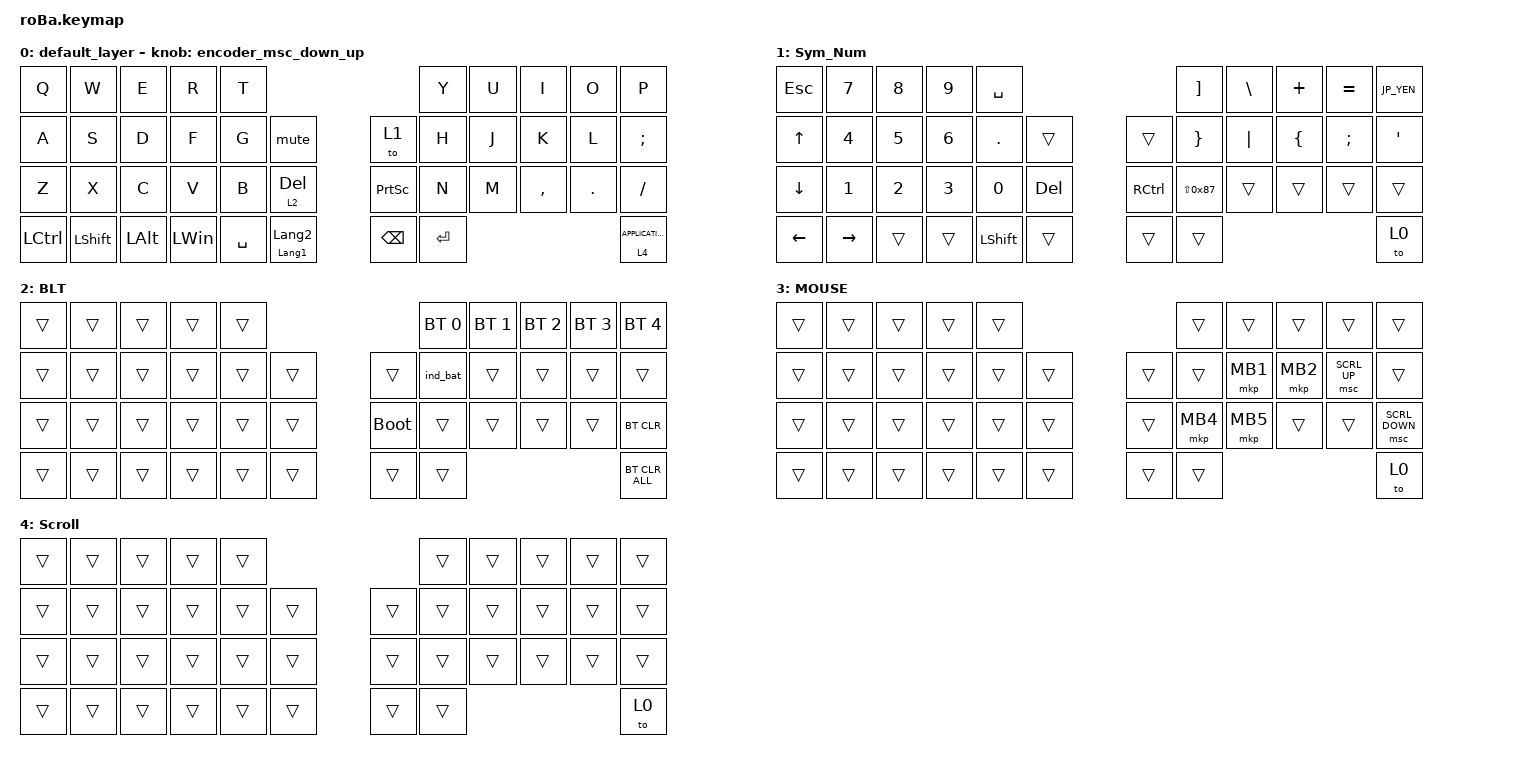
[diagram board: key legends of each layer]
#include <input/processors.dtsi>
#include <behaviors.dtsi>
#include <behaviors/rgbled_widget.dtsi>
#include <dt-bindings/zmk/bt.h>
#include <dt-bindings/zmk/keys.h>
#define ZMK_POINTING_DEFAULT_SCRL_VAL 80
#include <dt-bindings/zmk/pointing.h>

// OS設定を日本語キーボードのまま使用するための変換定義

#define JP_DQUOTE       AT                // "
#define JP_AMPERSAND    CARET             // &
#define JP_QUOTE        AMPERSAND         // '
#define JP_EQUAL        UNDER             // =
#define JP_CARET        EQUAL             // ^
#define JP_YEN          0x89              // ¥
#define JP_PLUS         COLON             // +
#define JP_TILDE        PLUS              // ~
#define JP_PIPE         LS(0x89)          // |
#define JP_AT           LEFT_BRACKET      // @
#define JP_COLON        SINGLE_QUOTE      // :
#define JP_ASTERISK     DOUBLE_QUOTES     // *
#define JP_BACKQUOTE    LEFT_BRACE        // `
#define JP_UNDERSCORE   LS(0x87)          // _
#define JP_LBRACKET     RIGHT_BRACKET     // [
#define JP_RBRACKET     BACKSLASH         // ]
#define JP_LPAREN       ASTERISK          // (
#define JP_RPAREN       LEFT_PARENTHESIS  // )
#define JP_LBRACE       RIGHT_BRACE       // {
#define JP_RBRACE       PIPE              // }
#define JP_KANA         LANGUAGE_1        // かな
#define JP_EISU         LANGUAGE_2        // 英数
#define JP_HANZEN       GRAVE             // 半角/全角

&mt {
    flavor = "balanced";
    quick-tap-ms = <0>;
};

&trackball {
    automouse-layer = <3>;
    scroll-layers = <4>;

    // arrows {
    //     layers = <3>;
    //     bindings =
    //         <&kp RIGHT_ARROW>,
    //         <&kp LEFT_ARROW>,
    //         <&kp UP_ARROW>,
    //         <&kp DOWN_ARROW>;
    //     tick = <10>;
    //     wait-ms = <5>;
    //     tap-ms = <5>;
    // };
};

/ {
    combos {
        compatible = "zmk,combos";

        jp_at {
            bindings = <&kp JP_AT>;
            key-positions = <2 1>;
        };

        tab {
            bindings = <&kp TAB>;
            key-positions = <12 13>;
        };

        shift_tab {
            bindings = <&kp LS(TAB)>;
            key-positions = <12 11>;
        };

        up_arrow {
            bindings = <&kp UP_ARROW>;
            key-positions = <2 3>;
        };

        down_arrow {
            bindings = <&kp DOWN_ARROW>;
            key-positions = <25 24>;
        };

        right_arrow {
            bindings = <&kp RIGHT_ARROW>;
            key-positions = <24 23>;
        };

        left_arrow {
            bindings = <&kp LEFT_ARROW>;
            key-positions = <23 22>;
        };

        f2_key {
            bindings = <&kp F2>;
            key-positions = <6 7>;
        };

        f6_key {
            bindings = <&kp F6>;
            key-positions = <18 19>;
        };

        f7_key {
            bindings = <&kp F7>;
            key-positions = <30 31>;
        };

        f8_key {
            bindings = <&kp F8>;
            key-positions = <7 8>;
        };

        f9_key {
            bindings = <&kp F9>;
            key-positions = <19 20>;
        };

        f10_key {
            bindings = <&kp F10>;
            key-positions = <31 32>;
        };

        esc_key {
            bindings = <&kp ESCAPE>;
            key-positions = <0 1>;
        };

        hoe_key {
            bindings = <&kp HOME>;
            key-positions = <17 18>;
        };

        end_key {
            bindings = <&kp END>;
            key-positions = <29 30>;
        };

        hyphen {
            bindings = <&kp MINUS>;
            key-positions = <5 6>;
        };

        f1_key {
            bindings = <&kp F1>;
            key-positions = <0 13>;
        };

        f3_key {
            bindings = <&kp F3>;
            key-positions = <1 13>;
        };

        f4_key {
            bindings = <&kp F4>;
            key-positions = <13 2>;
        };

        f5_key {
            bindings = <&kp F5>;
            key-positions = <13 3>;
        };

        f11_key {
            bindings = <&kp F11>;
            key-positions = <13 10>;
        };

        f12_key {
            bindings = <&kp F12>;
            key-positions = <13 11>;
        };
    };

    macros {
        to_layer_0: to_layer_0 {
            compatible = "zmk,behavior-macro-one-param";
            #binding-cells = <1>;
            bindings = <&to 0 &macro_param_1to1 &kp MACRO_PLACEHOLDER>;
            label = "TO_LAYER_0";
        };

        mute: mute {
            compatible = "zmk,behavior-macro";
            #binding-cells = <0>;
            bindings =
                <&to 0>,
                <&macro_press>,
                <&kp LS(LC(M))>,
                <&macro_release>;

            label = "MUTE";
        };
    };

    behaviors {
        lt_to_layer_0: lt_to_layer_0 {
            compatible = "zmk,behavior-hold-tap";
            label = "LAYER_TAP_TO_0";
            bindings = <&mo &to_layer_0>;
            #binding-cells = <2>;
            tapping-term-ms = <200>;
        };

        encoder_msc_down_up: encoder_msc_down_up {
            compatible = "zmk,behavior-sensor-rotate";
            label = "ENCODER_MSC_DOWN_UP";
            #sensor-binding-cells = <0>;
            bindings = <&msc SCRL_DOWN>, <&msc SCRL_UP>;
            tap-ms = <20>;
        };
    };

    keymap {
        compatible = "zmk,keymap";

        default_layer {
            bindings = <
&kp Q      &kp W           &kp E         &kp R         &kp T                                                      &kp Y      &kp U  &kp I      &kp O    &kp P
&kp A      &kp S           &kp D         &kp F         &kp G      &mute                          &to 1            &kp H      &kp J  &kp K      &kp L    &kp SEMICOLON
&kp Z      &kp X           &kp C         &kp V         &kp B      &lt 2 DELETE                   &kp PRINTSCREEN  &kp N      &kp M  &kp COMMA  &kp DOT  &kp SLASH
&kp LCTRL  &kp LEFT_SHIFT  &kp LEFT_ALT  &kp LEFT_WIN  &kp SPACE  &mt LANGUAGE_1 LANGUAGE_2      &kp BACKSPACE    &kp ENTER                             &lt 4 K_APPLICATION
            >;

            sensor-bindings = <&encoder_msc_down_up>;
        };

        Sym_Num {
            bindings = <
&kp ESCAPE       &kp NUMBER_7      &kp NUMBER_8   &kp NUMBER_9   &kp SPACE                               &kp JP_LBRACKET     &kp JP_RBRACKET   &kp JP_TILDE       &kp JP_CARET    &kp JP_YEN
&kp UP_ARROW     &kp NUMBER_4      &kp NUMBER_5   &kp NUMBER_6   &kp DOT          &trans        &trans   &kp JP_LBRACE       &kp JP_RBRACE     &kp JP_BACKQUOTE   &kp SEMICOLON   &kp JP_COLON
&kp DOWN_ARROW   &kp NUMBER_1      &kp NUMBER_2   &kp NUMBER_3   &kp NUMBER_0     &kp DELETE    &kp RCTRL   &kp JP_UNDERSCORE   &trans            &trans             &trans          &trans
&kp LEFT_ARROW   &kp RIGHT_ARROW   &trans         &trans         &kp LEFT_SHIFT   &trans        &trans   &trans                                                                   &to 0
            >;
        };

        BLT {
            bindings = <
&trans  &trans  &trans  &trans  &trans                           &bt BT_SEL 0  &bt BT_SEL 1  &bt BT_SEL 2  &bt BT_SEL 3  &bt BT_SEL 4
&trans  &trans  &trans  &trans  &trans  &trans      &trans       &ind_bat      &trans        &trans        &trans        &trans
&trans  &trans  &trans  &trans  &trans  &trans      &bootloader  &trans        &trans        &trans        &trans        &bt BT_CLR
&trans  &trans  &trans  &trans  &trans  &trans      &trans       &trans                                                  &bt BT_CLR_ALL
            >;
        };

        MOUSE {
            bindings = <
&trans  &trans  &trans  &trans  &trans                      &trans    &trans    &trans    &trans        &trans
&trans  &trans  &trans  &trans  &trans  &trans      &trans  &trans    &mkp MB1  &mkp MB2  &msc SCRL_UP  &trans
&trans  &trans  &trans  &trans  &trans  &trans      &trans  &mkp MB4  &mkp MB5  &trans    &trans        &msc SCRL_DOWN
&trans  &trans  &trans  &trans  &trans  &trans      &trans  &trans                                      &to 0
            >;
        };

        Scroll {
            bindings = <
&trans  &trans  &trans  &trans  &trans                      &trans  &trans  &trans  &trans  &trans
&trans  &trans  &trans  &trans  &trans  &trans      &trans  &trans  &trans  &trans  &trans  &trans
&trans  &trans  &trans  &trans  &trans  &trans      &trans  &trans  &trans  &trans  &trans  &trans
&trans  &trans  &trans  &trans  &trans  &trans      &trans  &trans                          &to 0
            >;
        };
    };
};
